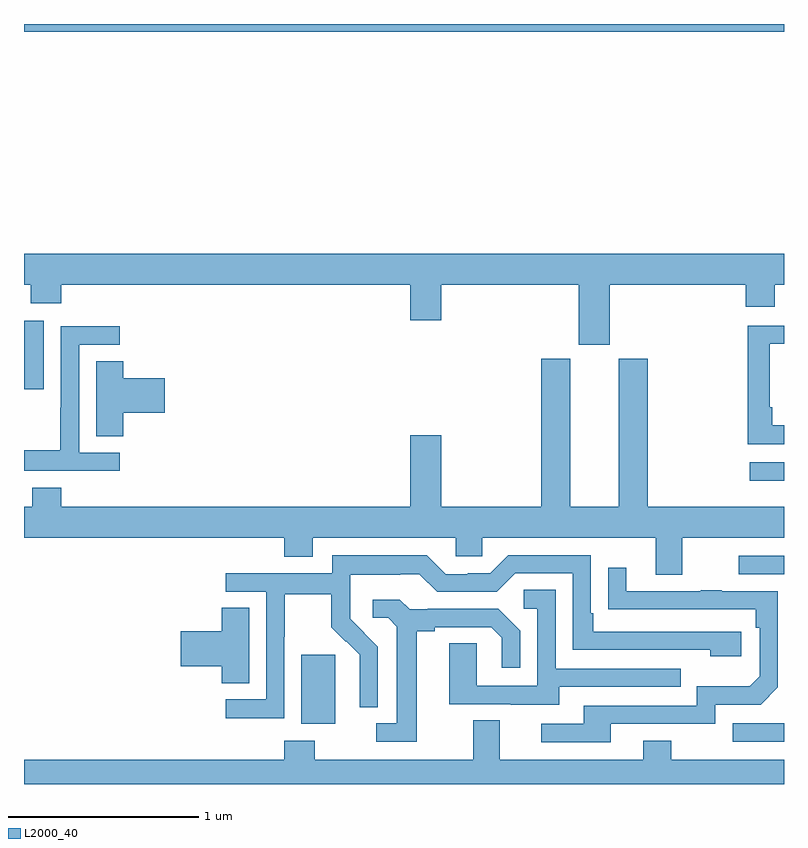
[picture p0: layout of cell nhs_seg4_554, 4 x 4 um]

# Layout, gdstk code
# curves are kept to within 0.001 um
import gdstk
lib = gdstk.Library(unit=1e-6, precision=1e-09)
def R(c, l, rs):  # rectangles x0, y0, x1, y1
    for r in rs: c.add(gdstk.rectangle(r[:2], r[2:], *l))
def P(c, l, *ps):  # polygons
    for p in ps: c.add(gdstk.Polygon(p, *l))
L2000_40 = (2000, 40)

nhs_seg4_554 = lib.new_cell('nhs_seg4_554')
R(nhs_seg4_554, L2000_40, [(142.731,753.123,143,753.219), (140.459,753.218,140.638,753.579), (142.761,754.005,143,754.101), (142.821,754.496,143,754.593), (139,754.977,139.105,755.338), (139,756.86,143,756.9)])
P(nhs_seg4_554, L2000_40, [(142.084,755.528),(142.799,755.528),(142.799,755.411),(142.951,755.411),(142.951,755.528),(143,755.528),(143,755.692),(139,755.692),(139,755.528),(139.036,755.528),(139.036,755.429),(139.196,755.429),(139.196,755.528),(141.032,755.528),(141.032,755.34),(141.196,755.34),(141.196,755.528),(141.92,755.528),(141.92,755.211),(142.084,755.211)],
  [(143,754.787),(142.939,754.787),(142.939,754.882),(142.926,754.882),(142.926,755.217),(143,755.217),(143,755.313),(142.81,755.313),(142.81,754.689),(143,754.689)],
  [(139.504,754.644),(139.29,754.644),(139.29,755.211),(139.504,755.211),(139.504,755.31),(139.194,755.31),(139.194,754.88),(139.192,754.88),(139.192,754.657),(139,754.657),(139,754.548),(139.504,754.548)],
  [(142.465,754.196),(143,754.196),(143,754.36),(142.283,754.36),(142.283,755.139),(142.13,755.139),(142.13,754.36),(141.874,754.36),(141.874,755.139),(141.722,755.139),(141.722,754.36),(141.196,754.36),(141.196,754.735),(141.032,754.735),(141.032,754.36),(139.196,754.36),(139.196,754.459),(139.043,754.459),(139.043,754.36),(139,754.36),(139,754.196),(140.369,754.196),(140.369,754.097),(140.521,754.097),(140.521,754.196),(141.273,754.196),(141.273,754.098),(141.411,754.098),(141.411,754.196),(142.325,754.196),(142.325,754.002),(142.465,754.002)],
  [(139.523,754.853),(139.741,754.853),(139.741,755.036),(139.523,755.036),(139.523,755.126),(139.379,755.126),(139.379,754.729),(139.523,754.729)],
  [(140.274,753.912),(140.274,753.345),(140.061,753.345),(140.061,753.247),(140.37,753.247),(140.37,753.676),(140.373,753.676),(140.373,753.9),(140.617,753.9),(140.617,753.725),(140.694,753.648),(140.697,753.651),(140.768,753.581),(140.768,753.458),(140.766,753.458),(140.766,753.304),(140.862,753.304),(140.862,753.622),(140.716,753.77),(140.716,753.867),(140.718,753.867),(140.718,754.001),(140.981,754.001),(140.981,754.005),(141.081,754.005),(141.174,753.912),(141.489,753.912),(141.585,754.008),(141.888,754.008),(141.888,753.606),(142.613,753.606),(142.613,753.572),(142.774,753.572),(142.774,753.702),(141.997,753.702),(141.997,753.799),(141.984,753.799),(141.984,754.104),(141.549,754.104),(141.453,754.008),(141.335,754.008),(141.335,754.005),(141.219,754.005),(141.119,754.105),(140.622,754.105),(140.622,754.008),(140.061,754.008),(140.061,753.912)],
  [(142.087,753.216),(142.638,753.216),(142.638,753.318),(142.878,753.318),(142.968,753.408),(142.968,753.915),(142.673,753.915),(142.673,753.92),(142.561,753.92),(142.561,753.915),(142.171,753.915),(142.171,754.039),(142.075,754.039),(142.075,753.82),(142.852,753.819),(142.852,753.722),(142.872,753.722),(142.872,753.468),(142.819,753.415),(142.542,753.415),(142.542,753.312),(141.947,753.312),(141.947,753.216),(141.723,753.216),(141.723,753.12),(142.087,753.12)],
  [(141.817,753.411),(142.457,753.411),(142.457,753.507),(141.798,753.507),(141.798,753.923),(141.63,753.923),(141.63,753.822),(141.702,753.822),(141.702,753.417),(141.384,753.417),(141.384,753.641),(141.239,753.641),(141.239,753.321),(141.563,753.321),(141.563,753.317),(141.817,753.317)],
  [(141.067,753.704),(141.163,753.704),(141.163,753.726),(141.458,753.726),(141.515,753.669),(141.515,753.513),(141.612,753.513),(141.612,753.706),(141.496,753.822),(141.124,753.822),(141.124,753.819),(141.03,753.819),(140.978,753.871),(140.835,753.871),(140.835,753.774),(140.916,753.774),(140.963,753.727),(140.963,753.219),(140.853,753.219),(140.853,753.123),(141.067,753.123)],
  [(140.185,753.827),(140.042,753.827),(140.042,753.704),(139.824,753.704),(139.824,753.521),(140.042,753.521),(140.042,753.43),(140.185,753.43)],
  [(143,753.028),(142.407,753.028),(142.407,753.127),(142.259,753.127),(142.259,753.028),(141.505,753.028),(141.505,753.236),(141.365,753.236),(141.365,753.028),(140.529,753.028),(140.529,753.127),(140.369,753.127),(140.369,753.028),(139,753.028),(139,752.9),(143,752.9)])

lib.write_gds('nhs_seg4_554.gds')
